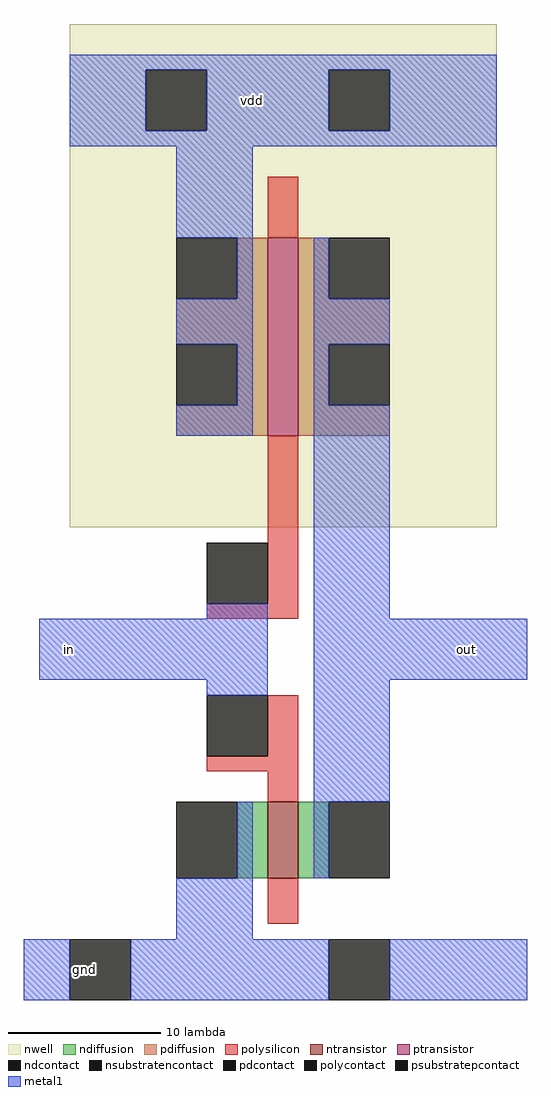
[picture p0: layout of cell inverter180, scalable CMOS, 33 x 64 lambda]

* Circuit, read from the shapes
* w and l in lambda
.subckt inverter180 gnd in out vdd
M1 out in gnd gnd nfet w=5 l=2
M2 out in vdd vdd pfet w=13 l=2
.ends

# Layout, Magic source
magic
tech scmos
<< nwell >>
rect -13 -19 15 14
<< ntransistor >>
rect 0 -42 2 -37
<< ptransistor >>
rect 0 -13 2 0
<< ndiffusion >>
rect -2 -42 0 -37
rect 2 -42 4 -37
<< pdiffusion >>
rect -2 -4 0 0
rect -6 -7 0 -4
rect -2 -11 0 -7
rect -6 -13 0 -11
rect 2 -4 4 0
rect 2 -7 8 -4
rect 2 -11 4 -7
rect 2 -13 8 -11
<< ndcontact >>
rect -6 -42 -2 -37
rect 4 -42 8 -37
<< pdcontact >>
rect -6 -4 -2 0
rect -6 -11 -2 -7
rect 4 -4 8 0
rect 4 -11 8 -7
<< psubstratepcontact >>
rect -13 -50 -9 -46
rect 4 -50 8 -46
<< nsubstratencontact >>
rect -8 7 -4 11
rect 4 7 8 11
<< polysilicon >>
rect 0 0 2 4
rect 0 -24 2 -13
rect -4 -25 2 -24
rect 0 -34 2 -30
rect -4 -35 2 -34
rect 0 -37 2 -35
rect 0 -45 2 -42
<< polycontact >>
rect -4 -24 0 -20
rect -4 -34 0 -30
<< metal1 >>
rect -13 11 15 12
rect -13 7 -8 11
rect -4 7 4 11
rect 8 7 15 11
rect -13 6 15 7
rect -6 0 -1 6
rect -2 -4 -1 0
rect -6 -7 -1 -4
rect -2 -11 -1 -7
rect -6 -13 -1 -11
rect 3 -4 4 0
rect 3 -7 8 -4
rect 3 -11 4 -7
rect -4 -25 0 -24
rect -15 -29 0 -25
rect -4 -30 0 -29
rect 3 -25 8 -11
rect 3 -29 17 -25
rect 3 -37 8 -29
rect -2 -42 -1 -37
rect 3 -42 4 -37
rect -6 -46 -1 -42
rect -16 -50 -13 -46
rect -9 -50 4 -46
rect 8 -50 17 -46
<< labels >>
rlabel metal1 -13 -27 -13 -27 3 in
rlabel psubstratepcontact -12 -48 -12 -48 2 gnd
rlabel metal1 13 -27 13 -27 7 out
rlabel metal1 -1 9 -1 9 5 vdd
<< end >>
